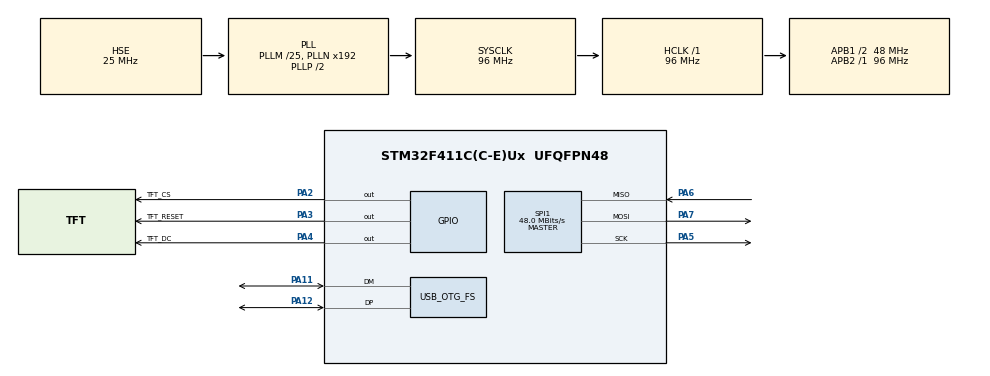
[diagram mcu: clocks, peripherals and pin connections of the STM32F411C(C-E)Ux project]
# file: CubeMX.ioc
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Dma.Request0=SPI1_TX
Dma.SPI1_TX.0.Direction=DMA_MEMORY_TO_PERIPH
Dma.SPI1_TX.0.FIFOMode=DMA_FIFOMODE_DISABLE
Dma.SPI1_TX.0.Instance=DMA2_Stream2
Dma.SPI1_TX.0.MemDataAlignment=DMA_MDATAALIGN_BYTE
Dma.SPI1_TX.0.MemInc=DMA_MINC_ENABLE
Dma.SPI1_TX.0.Mode=DMA_NORMAL
Dma.SPI1_TX.0.PeriphDataAlignment=DMA_PDATAALIGN_BYTE
Dma.SPI1_TX.0.PeriphInc=DMA_PINC_DISABLE
Dma.SPI1_TX.0.Priority=DMA_PRIORITY_LOW
FREERTOS.Tasks01=defaultTask,24,128,StartDefaultTask,Default,NULL,Dynamic,NULL,NULL
Mcu.Family=STM32F4
Mcu.Name=STM32F411C(C-E)Ux
Mcu.Package=UFQFPN48
NVIC.DMA2_Stream2_IRQn=true\:5\:0\:false\:false\:true\:true\:false\:true
NVIC.OTG_FS_IRQn=true\:5\:0\:false\:false\:true\:true\:true\:true
NVIC.PriorityGroup=NVIC_PRIORITYGROUP_4
NVIC.SPI1_IRQn=true\:5\:0\:false\:false\:true\:true\:true\:true
NVIC.TIM5_IRQn=true\:15\:0\:false\:false\:true\:false\:false\:true
NVIC.TimeBase=TIM5_IRQn
NVIC.TimeBaseIP=TIM5
PA11.Mode=Host_Only
PA11.Signal=USB_OTG_FS_DM
PA12.Mode=Host_Only
PA12.Signal=USB_OTG_FS_DP
PA13.Mode=Serial_Wire
PA13.Signal=SYS_JTMS-SWDIO
PA14.Mode=Serial_Wire
PA14.Signal=SYS_JTCK-SWCLK
PA2.GPIO_Label=TFT_CS
PA2.GPIO_Speed=GPIO_SPEED_FREQ_HIGH
PA2.Signal=GPIO_Output
PA3.GPIO_Label=TFT_RESET
PA3.Signal=GPIO_Output
PA4.GPIO_Label=TFT_DC
PA4.GPIO_Speed=GPIO_SPEED_FREQ_HIGH
PA4.PinState=GPIO_PIN_RESET
PA4.Signal=GPIO_Output
PA5.Mode=Full_Duplex_Master
PA5.Signal=SPI1_SCK
PA6.Mode=Full_Duplex_Master
PA6.Signal=SPI1_MISO
PA7.Mode=Full_Duplex_Master
PA7.Signal=SPI1_MOSI
PC14-OSC32_IN.Mode=LSE-External-Oscillator
PC14-OSC32_IN.Signal=RCC_OSC32_IN
PC15-OSC32_OUT.Mode=LSE-External-Oscillator
PC15-OSC32_OUT.Signal=RCC_OSC32_OUT
PH0\ -\ OSC_IN.Mode=HSE-External-Oscillator
PH0\ -\ OSC_IN.Signal=RCC_OSC_IN
PH1\ -\ OSC_OUT.Mode=HSE-External-Oscillator
PH1\ -\ OSC_OUT.Signal=RCC_OSC_OUT
ProjectManager.HeapSize=0x200
ProjectManager.StackSize=0x800
ProjectManager.TargetToolchain=Makefile
RCC.48MHZClocksFreq_Value=48000000
RCC.AHBFreq_Value=96000000
RCC.APB1CLKDivider=RCC_HCLK_DIV2
RCC.APB1Freq_Value=48000000
RCC.APB1TimFreq_Value=96000000
RCC.APB2Freq_Value=96000000
RCC.APB2TimFreq_Value=96000000
RCC.CortexFreq_Value=96000000
RCC.HCLKFreq_Value=96000000
RCC.HSE_VALUE=25000000
RCC.HSI_VALUE=16000000
RCC.PLLM=25
RCC.SYSCLKFreq_VALUE=96000000
RCC.SYSCLKSource=RCC_SYSCLKSOURCE_PLLCLK
RCC.VCOOutputFreq_Value=192000000
SPI1.BaudRatePrescaler=SPI_BAUDRATEPRESCALER_2
SPI1.CalculateBaudRate=48.0 MBits/s
SPI1.Direction=SPI_DIRECTION_2LINES
SPI1.Mode=SPI_MODE_MASTER
SPI1.VirtualType=VM_MASTER
USB_HOST.USBH_HandleTypeDef=hUsbHostFS
USB_HOST.VirtualModeFS=All_Classes
USB_OTG_FS.VirtualMode=Host_Only
USB_OTG_FS.phy_itface=HCD_PHY_EMBEDDED
VP_FREERTOS_VS_CMSIS_V2.Mode=CMSIS_V2
VP_SYS_VS_tim5.Mode=TIM5
VP_USB_HOST_VS_USB_HOST_ALL_CLASS_FS.Mode=ALL_Classes_FS
board=custom

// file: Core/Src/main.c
/* USER CODE BEGIN Header */
/**
  ******************************************************************************
  * @file           : main.c
  * @brief          : Main program body
  ******************************************************************************
  * @attention
  *
  * <h2><center>&copy; Copyright (c) 2023 STMicroelectronics.
  * All rights reserved.</center></h2>
  *
  * This software component is licensed by ST under Ultimate Liberty license
  * SLA0044, the "License"; You may not use this file except in compliance with
  * the License. You may obtain a copy of the License at:
  *                             www.st.com/SLA0044
  *
  ******************************************************************************
  */
/* USER CODE END Header */
#include "main.h"
#include "cmsis_os.h"
#include "usb_host.h"

SPI_HandleTypeDef hspi1;
DMA_HandleTypeDef hdma_spi1_tx;

/* Definitions for defaultTask */
osThreadId_t defaultTaskHandle;
const osThreadAttr_t defaultTask_attributes = {
  .name = "defaultTask",
  .stack_size = 128 * 4,
    .priority = (osPriority_t)osPriorityNormal,
};

void SystemClock_Config(void);
static void MX_GPIO_Init(void);
static void MX_DMA_Init(void);
static void MX_SPI1_Init(void);
void StartDefaultTask(void *argument);

/* USER CODE BEGIN 0 */

#include "ILI9341/ili9341.h"
#include "ILI9341/ili9341_gfx.h"

/* USER CODE END 0 */

int main(void) {

  /* MCU Configuration--------------------------------------------------------*/

  /* Reset of all peripherals, Initializes the Flash interface and the Systick.
   */
  HAL_Init();

  /* Configure the system clock */
  SystemClock_Config();

  /* Initialize all configured peripherals */
  MX_GPIO_Init();
  MX_DMA_Init();
  MX_SPI1_Init();

  /* Init scheduler */
  osKernelInitialize();

  /* Create the thread(s) */
  /* creation of defaultTask */
  defaultTaskHandle =
      osThreadNew(StartDefaultTask, NULL, &defaultTask_attributes);

  /* Start scheduler */
  osKernelStart();

  /* We should never get here as control is now taken by the scheduler */
  /* Infinite loop */
  while (1) {

  }
}

void SystemClock_Config(void) {
  RCC_OscInitTypeDef RCC_OscInitStruct = {0};
  RCC_ClkInitTypeDef RCC_ClkInitStruct = {0};

  /** Configure the main internal regulator output voltage
  */
  __HAL_RCC_PWR_CLK_ENABLE();
  __HAL_PWR_VOLTAGESCALING_CONFIG(PWR_REGULATOR_VOLTAGE_SCALE1);
  /** Initializes the RCC Oscillators according to the specified parameters
  * in the RCC_OscInitTypeDef structure.
  */
  RCC_OscInitStruct.OscillatorType = RCC_OSCILLATORTYPE_HSE;
  RCC_OscInitStruct.HSEState = RCC_HSE_ON;
  RCC_OscInitStruct.PLL.PLLState = RCC_PLL_ON;
  RCC_OscInitStruct.PLL.PLLSource = RCC_PLLSOURCE_HSE;
  RCC_OscInitStruct.PLL.PLLM = 25;
  RCC_OscInitStruct.PLL.PLLN = 192;
  RCC_OscInitStruct.PLL.PLLP = RCC_PLLP_DIV2;
  RCC_OscInitStruct.PLL.PLLQ = 4;
  if (HAL_RCC_OscConfig(&RCC_OscInitStruct) != HAL_OK) {
    Error_Handler();
  }
  /** Initializes the CPU, AHB and APB buses clocks
  */
  RCC_ClkInitStruct.ClockType = RCC_CLOCKTYPE_HCLK | RCC_CLOCKTYPE_SYSCLK |
                                RCC_CLOCKTYPE_PCLK1 | RCC_CLOCKTYPE_PCLK2;
  RCC_ClkInitStruct.SYSCLKSource = RCC_SYSCLKSOURCE_PLLCLK;
  RCC_ClkInitStruct.AHBCLKDivider = RCC_SYSCLK_DIV1;
  RCC_ClkInitStruct.APB1CLKDivider = RCC_HCLK_DIV2;
  RCC_ClkInitStruct.APB2CLKDivider = RCC_HCLK_DIV1;

  if (HAL_RCC_ClockConfig(&RCC_ClkInitStruct, FLASH_LATENCY_3) != HAL_OK) {
    Error_Handler();
  }
}

static void MX_SPI1_Init(void) {

  /* SPI1 parameter configuration*/
  hspi1.Instance = SPI1;
  hspi1.Init.Mode = SPI_MODE_MASTER;
  hspi1.Init.Direction = SPI_DIRECTION_2LINES;
  hspi1.Init.DataSize = SPI_DATASIZE_8BIT;
  hspi1.Init.CLKPolarity = SPI_POLARITY_LOW;
  hspi1.Init.CLKPhase = SPI_PHASE_1EDGE;
  hspi1.Init.NSS = SPI_NSS_SOFT;
  hspi1.Init.BaudRatePrescaler = SPI_BAUDRATEPRESCALER_2;
  hspi1.Init.FirstBit = SPI_FIRSTBIT_MSB;
  hspi1.Init.TIMode = SPI_TIMODE_DISABLE;
  hspi1.Init.CRCCalculation = SPI_CRCCALCULATION_DISABLE;
  hspi1.Init.CRCPolynomial = 7;
  if (HAL_SPI_Init(&hspi1) != HAL_OK) {
    Error_Handler();
  }
}

static void MX_DMA_Init(void) {

  /* DMA controller clock enable */
  __HAL_RCC_DMA2_CLK_ENABLE();

  /* DMA interrupt init */
  /* DMA2_Stream2_IRQn interrupt configuration */
  HAL_NVIC_SetPriority(DMA2_Stream2_IRQn, 5, 0);
  HAL_NVIC_EnableIRQ(DMA2_Stream2_IRQn);
}

static void MX_GPIO_Init(void) {
  GPIO_InitTypeDef GPIO_InitStruct = {0};

  /* GPIO Ports Clock Enable */
  __HAL_RCC_GPIOC_CLK_ENABLE();
  __HAL_RCC_GPIOH_CLK_ENABLE();
  __HAL_RCC_GPIOA_CLK_ENABLE();

  /*Configure GPIO pin Output Level */
  HAL_GPIO_WritePin(GPIOA, TFT_CS_Pin | TFT_RESET_Pin | TFT_DC_Pin,
                    GPIO_PIN_RESET);

  /*Configure GPIO pins : TFT_CS_Pin TFT_DC_Pin */
  GPIO_InitStruct.Pin = TFT_CS_Pin | TFT_DC_Pin;
  GPIO_InitStruct.Mode = GPIO_MODE_OUTPUT_PP;
  GPIO_InitStruct.Pull = GPIO_NOPULL;
  GPIO_InitStruct.Speed = GPIO_SPEED_FREQ_HIGH;
  HAL_GPIO_Init(GPIOA, &GPIO_InitStruct);

  /*Configure GPIO pin : TFT_RESET_Pin */
  GPIO_InitStruct.Pin = TFT_RESET_Pin;
  GPIO_InitStruct.Mode = GPIO_MODE_OUTPUT_PP;
  GPIO_InitStruct.Pull = GPIO_NOPULL;
  GPIO_InitStruct.Speed = GPIO_SPEED_FREQ_LOW;
  HAL_GPIO_Init(TFT_RESET_GPIO_Port, &GPIO_InitStruct);
}

void StartDefaultTask(void *argument) {
  /* init code for USB_HOST */
  MX_USB_HOST_Init();
  /* USER CODE BEGIN 5 */
  ili9341_t *screen =
      ili9341_new(&hspi1, TFT_RESET_GPIO_Port, TFT_RESET_Pin, TFT_CS_GPIO_Port,
                  TFT_CS_Pin, TFT_DC_GPIO_Port, TFT_DC_Pin, isoLandscape, NULL,
                  0, NULL, 0, itsNONE, itnNONE);

  /* Infinite loop */
  ili9341_text_attr_t textAttr = {
      .font = &ili9341_font_16x26,
      .fg_color = ILI9341_WHITE,
      .bg_color = ILI9341_BLACK,
      .origin_x = 10,
      .origin_y = 10,
  };

    ili9341_fill_screen(screen, ILI9341_BLACK);
    ili9341_draw_string(screen, textAttr, "Hello World!");
  for (;;) {
    osDelay(200);
  }
  /* USER CODE END 5 */
}

void HAL_TIM_PeriodElapsedCallback(TIM_HandleTypeDef *htim) {
  if (htim->Instance == TIM5) {
    HAL_IncTick();
  }
}

void Error_Handler(void) {
  __disable_irq();
  while (1) {
  }
}

#ifdef USE_FULL_ASSERT
/**
  * @brief  Reports the name of the source file and the source line number
  *         where the assert_param error has occurred.
  * @param  file: pointer to the source file name
  * @param  line: assert_param error line source number
  * @retval None
  */
void assert_failed(uint8_t *file, uint32_t line) {
  /* USER CODE BEGIN 6 */
  /* User can add his own implementation to report the file name and line
     number,
     ex: printf("Wrong parameters value: file %s on line %d\r\n", file, line) */
  /* USER CODE END 6 */
}
#endif /* USE_FULL_ASSERT */

/************************ (C) COPYRIGHT STMicroelectronics *****END OF FILE****/
